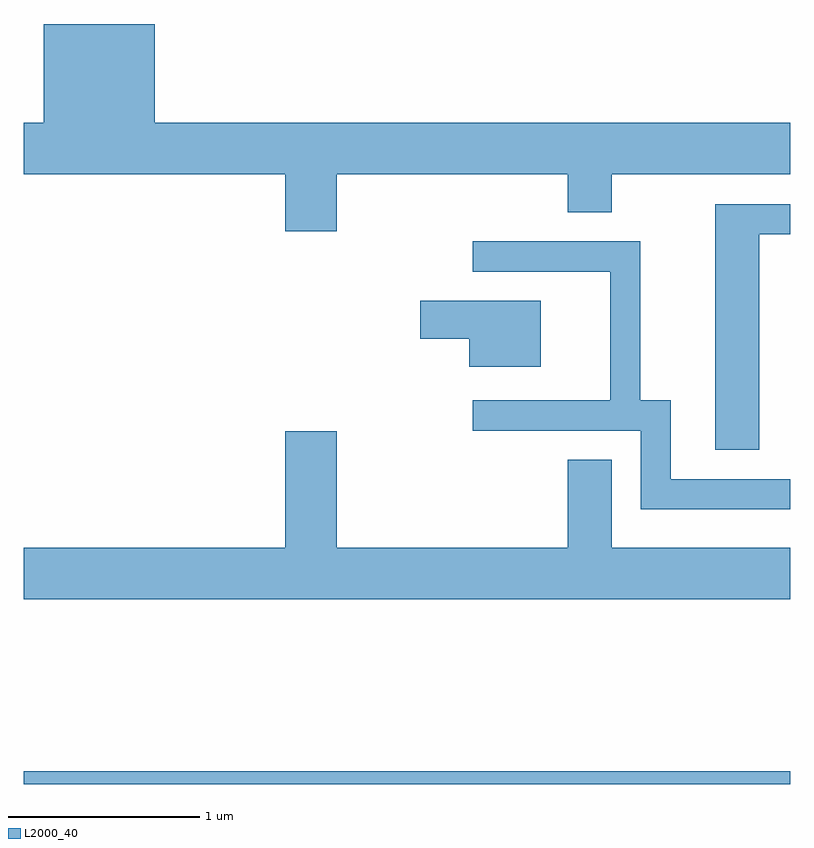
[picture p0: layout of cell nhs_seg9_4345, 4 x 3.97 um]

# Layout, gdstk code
import gdstk
lib = gdstk.Library(unit=1e-6, precision=1e-09)
def R(c, l, rs):  # rectangles x0, y0, x1, y1
    for r in rs: c.add(gdstk.rectangle(r[:2], r[2:], *l))
def P(c, l, *ps):  # polygons
    for p in ps: c.add(gdstk.Polygon(p, *l))
L2000_40 = (2000, 40)

nhs_seg9_4345 = lib.new_cell('nhs_seg9_4345')
R(nhs_seg9_4345, L2000_40, [(313.611,1966.432,317.611,1966.499)])
P(nhs_seg9_4345, L2000_40, [(314.294,1970.399),(313.716,1970.399),(313.716,1969.884),(313.611,1969.884),(313.611,1969.616),(314.976,1969.616),(314.976,1969.316),(315.244,1969.316),(315.244,1969.616),(316.451,1969.616),(316.451,1969.416),(316.679,1969.416),(316.679,1969.616),(317.611,1969.616),(317.611,1969.884),(314.294,1969.884)],
  [(317.449,1969.301),(317.611,1969.301),(317.611,1969.459),(317.221,1969.459),(317.221,1968.176),(317.449,1968.176)],
  [(317.611,1968.024),(316.989,1968.024),(316.989,1968.434),(316.829,1968.434),(316.829,1969.264),(315.953,1969.264),(315.953,1969.106),(316.671,1969.106),(316.671,1968.434),(315.953,1968.434),(315.953,1968.276),(316.831,1968.276),(316.831,1967.866),(317.611,1967.866)],
  [(316.309,1968.954),(315.681,1968.954),(315.681,1968.756),(315.936,1968.756),(315.936,1968.611),(316.309,1968.611)],
  [(317.611,1967.664),(316.679,1967.664),(316.679,1968.124),(316.451,1968.124),(316.451,1967.664),(315.244,1967.664),(315.244,1968.274),(314.976,1968.274),(314.976,1967.664),(313.611,1967.664),(313.611,1967.396),(317.611,1967.396)])

lib.write_gds('nhs_seg9_4345.gds')
